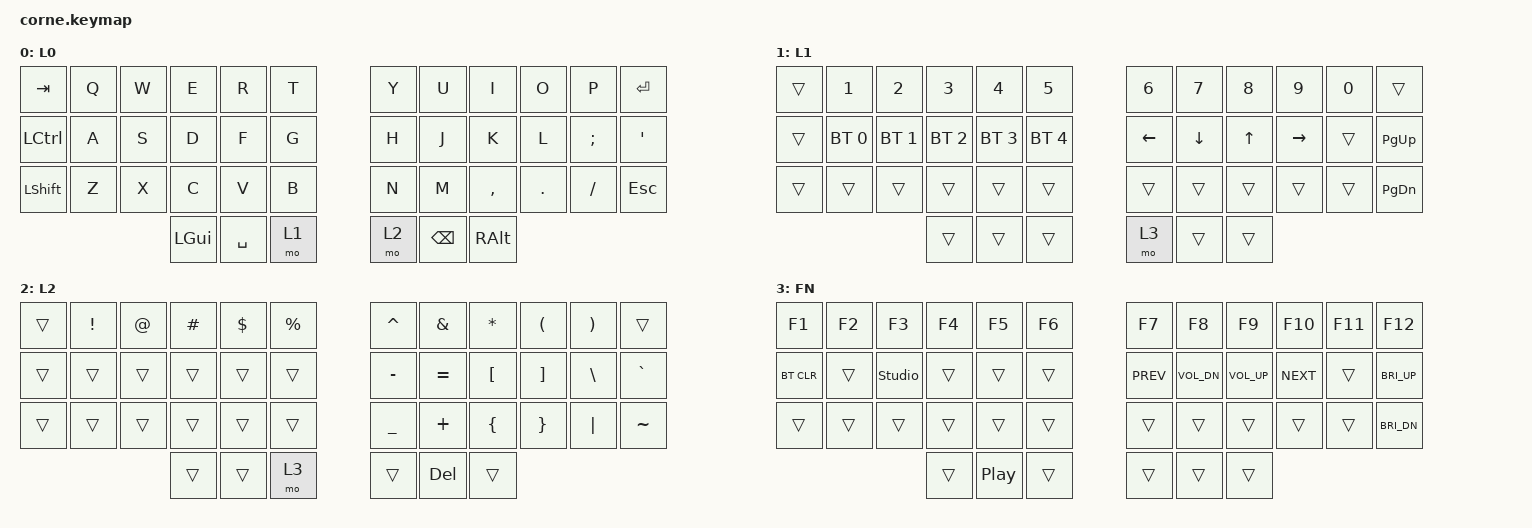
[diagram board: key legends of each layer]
#include <behaviors.dtsi>
#include <dt-bindings/zmk/bt.h>
#include <dt-bindings/zmk/keys.h>

/ {
    combos {
        compatible = "zmk,combos";
    };

    keymap {
        compatible = "zmk,keymap";

        L0 {
            bindings = <
&kp TAB    &kp Q  &kp W  &kp E     &kp R      &kp T    &kp Y  &kp U     &kp I      &kp O    &kp P     &kp RET
&kp LCTRL  &kp A  &kp S  &kp D     &kp F      &kp G    &kp H  &kp J     &kp K      &kp L    &kp SEMI  &kp SQT
&kp LSHFT  &kp Z  &kp X  &kp C     &kp V      &kp B    &kp N  &kp M     &kp COMMA  &kp DOT  &kp FSLH  &kp ESC
                         &kp LGUI  &kp SPACE  &mo 1    &mo 2  &kp BSPC  &kp RALT
            >;

            label = "L0";
        };

        L1 {
            bindings = <
&trans  &kp N1        &kp N2        &kp N3        &kp N4        &kp N5          &kp N6    &kp N7    &kp N8  &kp N9     &kp N0  &trans
&trans  &bt BT_SEL 0  &bt BT_SEL 1  &bt BT_SEL 2  &bt BT_SEL 3  &bt BT_SEL 4    &kp LEFT  &kp DOWN  &kp UP  &kp RIGHT  &trans  &kp PG_UP
&trans  &trans        &trans        &trans        &trans        &trans          &trans    &trans    &trans  &trans     &trans  &kp PG_DN
                                    &trans        &trans        &trans          &mo 3     &trans    &trans
            >;

            label = "L1";
        };

        L2 {
            bindings = <
&trans  &kp EXCL  &kp AT  &kp HASH  &kp DLLR  &kp PRCNT    &kp CARET  &kp AMPS   &kp ASTERISK  &kp LPAR  &kp RPAR  &trans
&trans  &trans    &trans  &trans    &trans    &trans       &kp MINUS  &kp EQUAL  &kp LBKT      &kp RBKT  &kp BSLH  &kp GRAVE
&trans  &trans    &trans  &trans    &trans    &trans       &kp UNDER  &kp PLUS   &kp LBRC      &kp RBRC  &kp PIPE  &kp TILDE
                          &trans    &trans    &mo 3        &trans     &kp DEL    &trans
            >;

            label = "L2";
        };

        FN {
            bindings = <
&kp F1      &kp F2  &kp F3         &kp F4  &kp F5    &kp F6    &kp F7      &kp F8        &kp F9        &kp F10     &kp F11  &kp F12
&bt BT_CLR  &trans  &studio_unlock &trans  &trans    &trans    &kp C_PREV  &kp C_VOL_DN  &kp C_VOL_UP  &kp C_NEXT  &trans   &kp C_BRI_UP
&trans      &trans  &trans         &trans  &trans    &trans    &trans      &trans        &trans        &trans      &trans   &kp C_BRI_DN
                                   &trans  &kp C_PP  &trans    &trans      &trans        &trans
            >;

            label = "FN";
        };
    };
};
